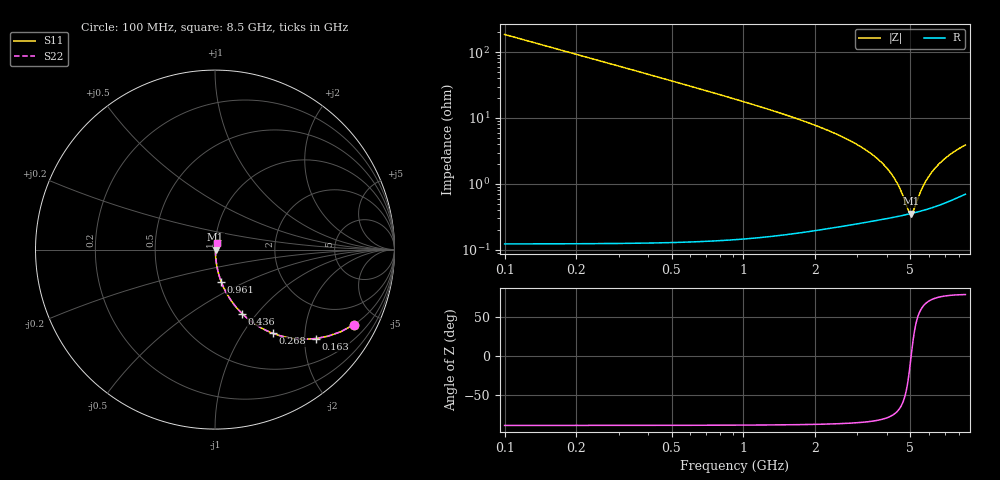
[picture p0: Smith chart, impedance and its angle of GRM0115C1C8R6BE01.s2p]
!Murata Part Number: GRM0115C1C8R6BE01
!These Parameters are Measured in Series Mode Connection
!Data Generated on Mar 30, 2021
!  o--ll--o
!Port1  Port2
!  o------o
!Operation Temp=25[degC], DC Bias Voltage=0[V]
!Freq. Start=100[MHz] Stop=9[GHz] 401[Steps]
# Hz S RI R 50
!Freq.(Hz) S11(Real) S11(Imag) S21(Real) S21(Imag) S12(Real) S12(Imag) S22(Real) S22(Imag)
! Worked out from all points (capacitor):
!   401 points, 100 MHz to 8.5 GHz, reference 50 ohm
!   read as one part in series: C = 8.6 pF near 142 MHz
!   lowest |Z| = 356 mohm at 5.035 GHz (marker M1)
!   series resonance near 5.038 GHz, so ESL is about 120 pH
!   S11 on the Smith chart (normalised r, x): 100 MHz: 1.00, -3.70; 163 MHz: 1.00, -2.27; 268 MHz: 1.00, -1.38; 436 MHz: 1.00, -0.84; 961 MHz: 1.00, -0.37; 8.5 GHz: 1.01, +0.08
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1e8  0.7737 -0.4181  0.2263 0.4181  0.2263 0.4181  0.7737 -0.4181
1.63e8  0.5625 -0.4955  0.4375 0.4955  0.4375 0.4955  0.5625 -0.4955
2.05e8  0.4482 -0.4966  0.5518 0.4966  0.5518 0.4966  0.4482 -0.4966
2.68e8  0.3219 -0.4663  0.6781 0.4663  0.6781 0.4663  0.3219 -0.4663
3.52e8  0.2154 -0.4099  0.7846 0.4099  0.7846 0.4099  0.2154 -0.4099
4.36e8  0.1514 -0.3569  0.8486 0.3569  0.8486 0.3569  0.1514 -0.3569
6.46e8  0.0745 -0.2602  0.9255 0.2602  0.9255 0.2602  0.0745 -0.2602
9.61e8  0.0345 -0.1785  0.9655 0.1785  0.9655 0.1785  0.0345 -0.1785
1.507e9  0.0139 -0.1096  0.9861 0.1096  0.9861 0.1096  0.0139 -0.1096
2.914e9  0.00417 -0.0416  0.9958 0.0416  0.9958 0.0416  0.00417 -0.0416
3.733e9  0.00333 -0.0219  0.9967 0.0219  0.9967 0.0219  0.00333 -0.0219
4.3e9  0.00327 -0.0115  0.9967 0.0115  0.9967 0.0115  0.00327 -0.0115
4.552e9  0.00333 -0.00732  0.9967 0.00732  0.9967 0.00732  0.00333 -0.00732
4.909e9  0.00348 -0.00187  0.9965 0.00187  0.9965 0.00187  0.00348 -0.00187
5.035e9  0.00355 -4.59e-05  0.9965 4.59e-05  0.9965 4.59e-05  0.00355 -4.59e-05
5.14e9  0.00362 0.00144  0.9964 -0.00144  0.9964 -0.00144  0.00362 0.00144
5.476e9  0.00387 0.00599  0.9961 -0.00599  0.9961 -0.00599  0.00387 0.00599
5.707e9  0.00407 0.00896  0.9959 -0.00896  0.9959 -0.00896  0.00407 0.00896
5.98e9  0.00435 0.0123  0.9957 -0.0123  0.9957 -0.0123  0.00435 0.0123
6.295e9  0.00471 0.016  0.9953 -0.016  0.9953 -0.016  0.00471 0.016
7.114e9  0.00588 0.0249  0.9941 -0.0249  0.9941 -0.0249  0.00588 0.0249
8.5e9  0.00837 0.0378  0.9916 -0.0378  0.9916 -0.0378  0.00837 0.0378
